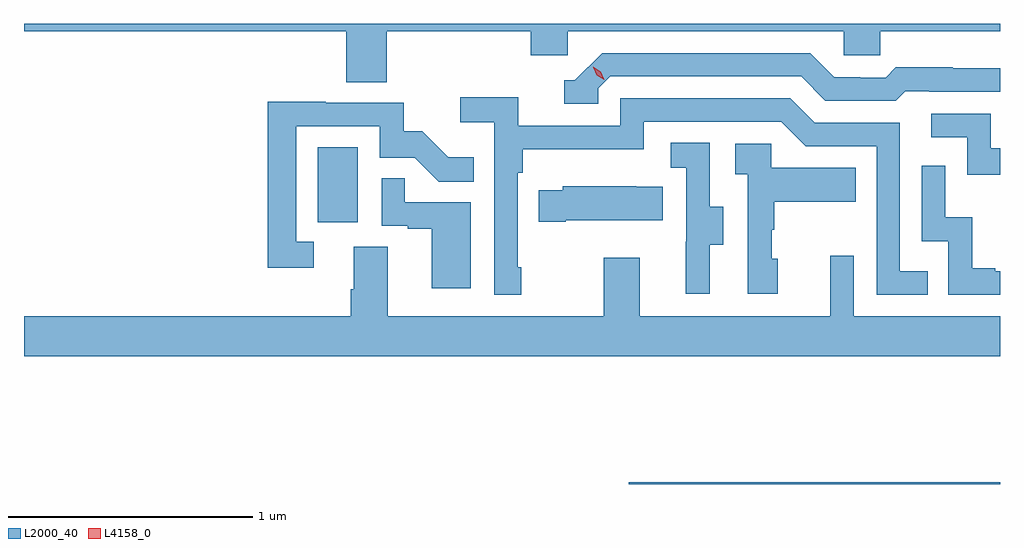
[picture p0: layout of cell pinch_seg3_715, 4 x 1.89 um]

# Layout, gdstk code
import gdstk
lib = gdstk.Library(unit=1e-6, precision=1e-09)
def R(c, l, rs):  # rectangles x0, y0, x1, y1
    for r in rs: c.add(gdstk.rectangle(r[:2], r[2:], *l))
def P(c, l, *ps):  # polygons
    for p in ps: c.add(gdstk.Polygon(p, *l))
L2000_40 = (2000, 40)
L4158_0 = (4158, 0)

pinch_seg3_715 = lib.new_cell('pinch_seg3_715')
R(pinch_seg3_715, L2000_40, [(857.681,747.011,859.202,747.02), (856.406,748.086,856.57,748.393)])
P(pinch_seg3_715, L2000_40, [(856.688,748.868),(857.279,748.868),(857.279,748.77),(857.43,748.77),(857.43,748.868),(858.561,748.868),(858.561,748.77),(858.711,748.77),(858.711,748.868),(859.202,748.868),(859.202,748.9),(855.202,748.9),(855.202,748.868),(856.523,748.868),(856.523,748.66),(856.688,748.66)],
  [(857.556,748.635),(857.604,748.683),(858.387,748.683),(858.486,748.584),(858.775,748.584),(858.814,748.623),(858.913,748.623),(858.913,748.62),(859.202,748.62),(859.202,748.717),(859.008,748.717),(859.008,748.72),(858.775,748.72),(858.733,748.677),(858.63,748.677),(858.63,748.68),(858.523,748.68),(858.424,748.779),(857.571,748.779),(857.46,748.668),(857.417,748.668),(857.417,748.572),(857.556,748.572)],
  [(857.239,747.901),(857.226,747.901),(857.226,748.289),(857.246,748.289),(857.246,748.385),(857.742,748.385),(857.742,748.497),(858.306,748.497),(858.405,748.398),(858.696,748.398),(858.696,747.789),(858.905,747.789),(858.905,747.885),(858.792,747.885),(858.792,748.494),(858.442,748.494),(858.343,748.593),(857.646,748.593),(857.646,748.482),(857.228,748.482),(857.228,748.598),(856.989,748.598),(856.989,748.496),(857.13,748.496),(857.13,747.789),(857.239,747.789)],
  [(856.39,748.005),(856.317,748.005),(856.317,748.479),(856.659,748.479),(856.659,748.35),(856.803,748.35),(856.901,748.252),(857.045,748.252),(857.045,748.351),(856.941,748.351),(856.834,748.458),(856.758,748.458),(856.758,748.575),(856.439,748.575),(856.439,748.58),(856.201,748.58),(856.201,747.9),(856.39,747.9)],
  [(859.202,748.389),(859.164,748.389),(859.164,748.53),(858.921,748.53),(858.921,748.434),(859.068,748.434),(859.068,748.281),(859.202,748.281)],
  [(858.013,747.994),(858.067,747.994),(858.067,748.149),(858.012,748.149),(858.012,748.412),(857.853,748.412),(857.853,748.309),(857.916,748.309),(857.916,748.005),(857.915,748.005),(857.915,747.792),(858.013,747.792)],
  [(858.292,747.936),(858.267,747.936),(858.267,748.055),(858.277,748.055),(858.277,748.169),(858.611,748.169),(858.611,748.309),(858.264,748.309),(858.264,748.407),(858.117,748.407),(858.117,748.283),(858.168,748.283),(858.168,747.792),(858.292,747.792)],
  [(859.202,747.885),(859.183,747.885),(859.183,747.898),(859.088,747.898),(859.088,748.106),(858.978,748.106),(858.978,748.318),(858.882,748.318),(858.882,748.008),(858.99,748.008),(858.99,747.789),(859.202,747.789)],
  [(857.032,748.167),(856.763,748.167),(856.763,748.265),(856.668,748.265),(856.668,748.071),(856.775,748.071),(856.775,748.059),(856.874,748.059),(856.874,747.816),(857.032,747.816)],
  [(857.422,748.094),(857.819,748.094),(857.819,748.231),(857.711,748.231),(857.711,748.234),(857.409,748.234),(857.409,748.216),(857.311,748.216),(857.311,748.087),(857.422,748.087)],
  [(859.202,747.7),(858.603,747.7),(858.603,747.949),(858.506,747.949),(858.506,747.7),(857.725,747.7),(857.725,747.94),(857.578,747.94),(857.578,747.7),(856.693,747.7),(856.693,747.986),(856.553,747.986),(856.553,747.812),(856.541,747.812),(856.541,747.7),(855.202,747.7),(855.202,747.536),(859.202,747.536)])
P(pinch_seg3_715, L4158_0, [(857.581,748.67),(857.55,748.689),(857.534,748.721),(857.534,748.722),(857.534,748.722),(857.565,748.702),(857.581,748.67),(857.581,748.67)])

lib.write_gds('pinch_seg3_715.gds')
